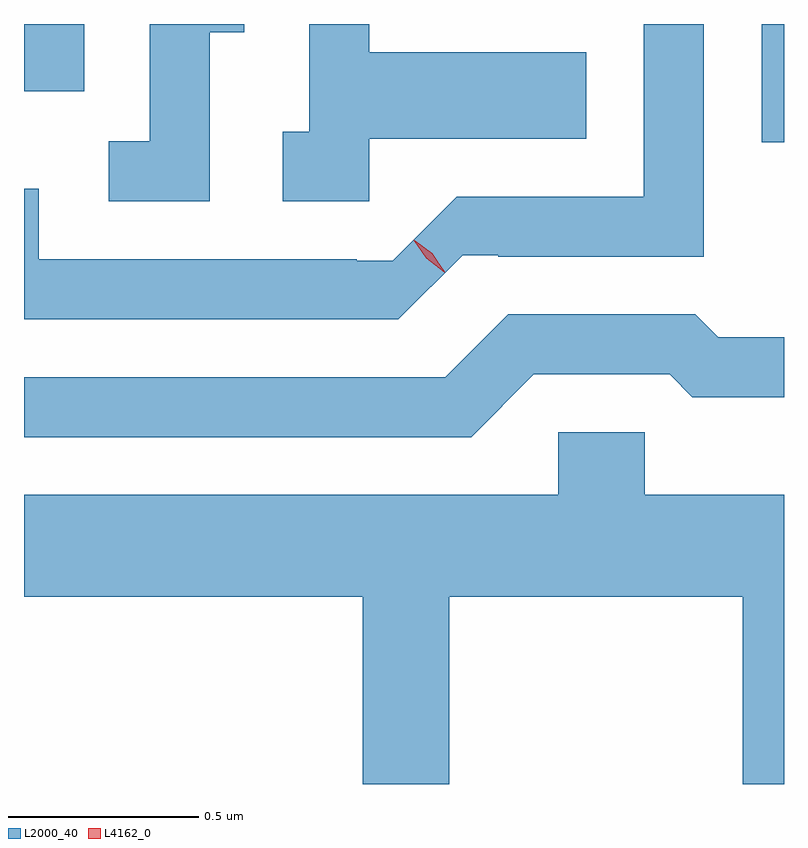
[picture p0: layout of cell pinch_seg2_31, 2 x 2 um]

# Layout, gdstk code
import gdstk
lib = gdstk.Library(unit=1e-6, precision=1e-09)
def R(c, l, rs):  # rectangles x0, y0, x1, y1
    for r in rs: c.add(gdstk.rectangle(r[:2], r[2:], *l))
def P(c, l, *ps):  # polygons
    for p in ps: c.add(gdstk.Polygon(p, *l))
L2000_40 = (2000, 40)
L4162_0 = (4162, 0)

pinch_seg2_31 = lib.new_cell('pinch_seg2_31')
R(pinch_seg2_31, L2000_40, [(1667.901,1040.632,1667.96,1040.943), (1665.96,1040.766,1666.119,1040.943)])
P(pinch_seg2_31, L2000_40, [(1667.114,1040.335),(1667.208,1040.335),(1667.208,1040.331),(1667.749,1040.331),(1667.749,1040.943),(1667.591,1040.943),(1667.591,1040.489),(1667.099,1040.489),(1666.93,1040.32),(1666.835,1040.32),(1666.835,1040.324),(1665.999,1040.324),(1665.999,1040.509),(1665.96,1040.509),(1665.96,1040.166),(1666.945,1040.166)],
  [(1666.869,1040.641),(1667.439,1040.641),(1667.439,1040.869),(1666.869,1040.869),(1666.869,1040.943),(1666.711,1040.943),(1666.711,1040.659),(1666.641,1040.659),(1666.641,1040.476),(1666.869,1040.476)],
  [(1666.449,1040.921),(1666.539,1040.921),(1666.539,1040.943),(1666.291,1040.943),(1666.291,1040.634),(1666.183,1040.634),(1666.183,1040.476),(1666.449,1040.476)],
  [(1667.302,1040.021),(1667.659,1040.021),(1667.719,1039.961),(1667.96,1039.961),(1667.96,1040.119),(1667.787,1040.119),(1667.727,1040.179),(1667.234,1040.179),(1667.069,1040.014),(1665.96,1040.014),(1665.96,1039.856),(1667.137,1039.856)],
  [(1667.079,1039.436),(1667.851,1039.436),(1667.851,1038.943),(1667.96,1038.943),(1667.96,1039.704),(1667.594,1039.704),(1667.594,1039.869),(1667.366,1039.869),(1667.366,1039.704),(1665.96,1039.704),(1665.96,1039.436),(1666.851,1039.436),(1666.851,1038.943),(1667.079,1038.943)])
P(pinch_seg2_31, L4162_0, [(1667.066,1040.29),(1667.019,1040.326),(1666.986,1040.374),(1666.986,1040.375),(1666.986,1040.375),(1667.034,1040.339),(1667.067,1040.291),(1667.067,1040.29)],
  [(1667.064,1040.294),(1667.02,1040.326),(1666.989,1040.371),(1666.989,1040.372),(1666.99,1040.372),(1667.034,1040.34),(1667.065,1040.294),(1667.065,1040.294)])

lib.write_gds('pinch_seg2_31.gds')
